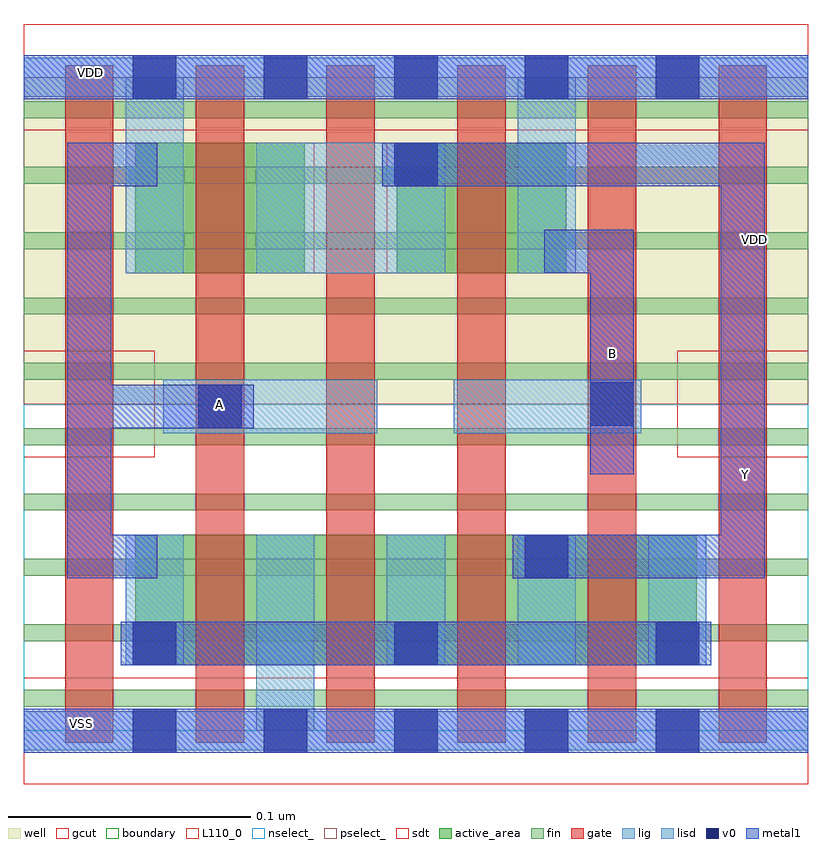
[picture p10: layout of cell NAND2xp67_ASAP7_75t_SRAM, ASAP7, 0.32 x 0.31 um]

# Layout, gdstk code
import gdstk
lib = gdstk.Library(unit=1e-6, precision=2.5e-10)
def R(c, l, rs):  # rectangles x0, y0, x1, y1
    for r in rs: c.add(gdstk.rectangle(r[:2], r[2:], *l))
def A(c, l, x, y, w, h, nx, ny, dx, dy):  # array of equal rectangles
    R(c, l, [(x+i*dx, y+j*dy, x+i*dx+w, y+j*dy+h) for i in range(nx) for j in range(ny)])
def P(c, l, *ps):  # polygons
    for p in ps: c.add(gdstk.Polygon(p, *l))
well = (1, 0)
fin = (2, 0)
gate = (7, 0)
gcut = (10, 0)
active_area = (11, 0)
nselect_ = (12, 0)
pselect_ = (13, 0)
lig = (16, 0)
lisd = (17, 0)
v0 = (18, 0)
metal1 = (19, 0)
sdt = (88, 0)
boundary = (100, 0)
L110_0 = (110, 0)

nand2xp67_asap7_75t_sram = lib.new_cell('NAND2xp67_ASAP7_75t_SRAM')
R(nand2xp67_asap7_75t_sram, well, [(0,0.135,0.324,0.27)])
A(nand2xp67_asap7_75t_sram, fin, 0, 0.01, 0.324, 0.007, 1, 10, 0, 0.027)
A(nand2xp67_asap7_75t_sram, gate, 0.017, -0.005, 0.02, 0.28, 6, 1, 0.054, 0)
R(nand2xp67_asap7_75t_sram, gcut, [(0,-0.022,0.324,0.022), (0,0.113,0.054,0.157), (0.27,0.113,0.324,0.157), (0,0.248,0.324,0.292)])
R(nand2xp67_asap7_75t_sram, active_area, [(0.046,0.027,0.278,0.081), (0.046,0.189,0.116,0.243), (0.154,0.189,0.224,0.243)])
R(nand2xp67_asap7_75t_sram, nselect_, [(0,0,0.324,0.135)])
R(nand2xp67_asap7_75t_sram, pselect_, [(0,0.135,0.324,0.27)])
R(nand2xp67_asap7_75t_sram, lig, [(0,-0.008,0.324,0.008), (0.0575,0.123,0.146,0.145), (0.1775,0.123,0.255,0.145), (0,0.262,0.324,0.278)])
A(nand2xp67_asap7_75t_sram, lisd, 0.15, 0.027, 0.024, 0.054, 3, 1, 0.054, 0)
R(nand2xp67_asap7_75t_sram, lisd, [(0.096,0,0.12,0.081), (0.042,0.027,0.066,0.081), (0.042,0.189,0.066,0.27), (0.096,0.189,0.174,0.243), (0.204,0.189,0.228,0.27)])
A(nand2xp67_asap7_75t_sram, v0, 0.045, -0.009, 0.018, 0.018, 5, 2, 0.054, 0.27)
A(nand2xp67_asap7_75t_sram, v0, 0.045, 0.027, 0.018, 0.018, 3, 1, 0.108, 0)
R(nand2xp67_asap7_75t_sram, v0, [(0.207,0.063,0.225,0.081), (0.072,0.125,0.09,0.143), (0.234,0.126,0.252,0.144), (0.153,0.225,0.171,0.243)])
R(nand2xp67_asap7_75t_sram, metal1, [(0,-0.009,0.324,0.009), (0.04,0.027,0.284,0.045), (0,0.261,0.324,0.279)])
P(nand2xp67_asap7_75t_sram, metal1, [(0.095,0.143),(0.036,0.143),(0.036,0.225),(0.055,0.225),(0.055,0.243),(0.018,0.243),(0.018,0.063),(0.055,0.063),(0.055,0.081),(0.036,0.081),(0.036,0.125),(0.095,0.125)],
  [(0.252,0.207),(0.215,0.207),(0.215,0.189),(0.234,0.189),(0.234,0.106),(0.252,0.106)],
  [(0.306,0.243),(0.148,0.243),(0.148,0.225),(0.288,0.225),(0.288,0.081),(0.202,0.081),(0.202,0.063),(0.306,0.063)])
A(nand2xp67_asap7_75t_sram, sdt, 0.042, 0.027, 0.024, 0.054, 5, 1, 0.054, 0)
A(nand2xp67_asap7_75t_sram, sdt, 0.042, 0.189, 0.024, 0.054, 4, 1, 0.054, 0)
R(nand2xp67_asap7_75t_sram, boundary, [(0,0,0.324,0.27)])
R(nand2xp67_asap7_75t_sram, L110_0, [(0,0,0.324,0.27)])
nand2xp67_asap7_75t_sram.add(gdstk.Label('Y', (0.298,0.106), layer=19, texttype=251))
nand2xp67_asap7_75t_sram.add(gdstk.Label('Y', (0.298,0.106), layer=19, texttype=251))
nand2xp67_asap7_75t_sram.add(gdstk.Label('B', (0.243,0.156), layer=19, texttype=251))
nand2xp67_asap7_75t_sram.add(gdstk.Label('A', (0.081,0.135), layer=19, texttype=251))
nand2xp67_asap7_75t_sram.add(gdstk.Label('VDD', (0.0275,0.272), layer=19, texttype=251))
nand2xp67_asap7_75t_sram.add(gdstk.Label('VSS', (0.024,0.003), layer=19, texttype=251))
nand2xp67_asap7_75t_sram.add(gdstk.Label('VDD', (0.302,0.203), layer=1, texttype=251))
nand2xp67_asap7_75t_sram.add(gdstk.Label('VSS', (0.371,0.202), layer=3, texttype=251))

lib.write_gds('NAND2xp67_ASAP7_75t_SRAM.gds')
